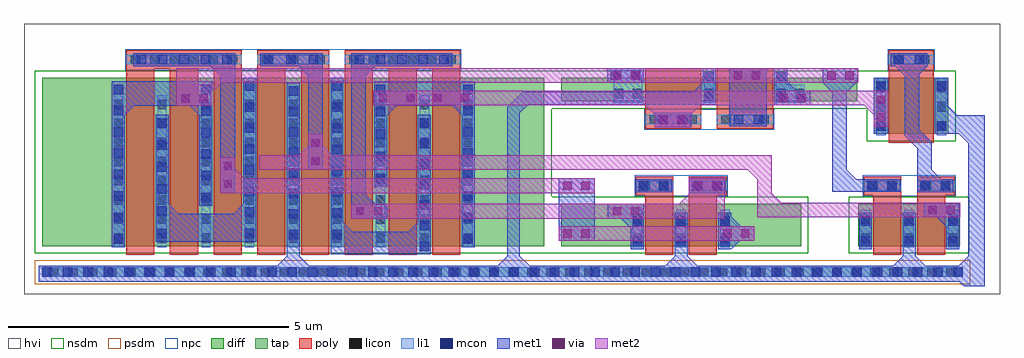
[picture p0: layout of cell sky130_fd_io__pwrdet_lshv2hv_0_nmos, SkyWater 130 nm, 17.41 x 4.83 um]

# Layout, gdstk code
from math import pi, radians
import gdstk
lib = gdstk.Library(unit=1e-6, precision=1e-09)
def R(c, l, rs):  # rectangles x0, y0, x1, y1
    for r in rs: c.add(gdstk.rectangle(r[:2], r[2:], *l))
def A(c, l, x, y, w, h, nx, ny, dx, dy):  # array of equal rectangles
    R(c, l, [(x+i*dx, y+j*dy, x+i*dx+w, y+j*dy+h) for i in range(nx) for j in range(ny)])
def P(c, l, *ps):  # polygons
    for p in ps: c.add(gdstk.Polygon(p, *l))
diff = (65, 20)
tap = (65, 44)
poly = (66, 20)
licon = (66, 44)
li1 = (67, 20)
mcon = (67, 44)
met1 = (68, 20)
via = (68, 44)
met2 = (69, 20)
hvi = (75, 20)
nsdm = (93, 44)
psdm = (94, 20)
npc = (95, 20)

dfl1_cdns_52468879185881 = lib.new_cell('DFL1_CDNS_52468879185881')
R(dfl1_cdns_52468879185881, diff, [(0,0,0.25,0.29)])
R(dfl1_cdns_52468879185881, licon, [(0.04,0.06,0.21,0.23)])
R(dfl1_cdns_52468879185881, li1, [(0.04,-0.02,0.21,0.31)])

dfl1sd_cdns_524688791853 = lib.new_cell('DFL1sd_CDNS_5246887918538')
R(dfl1sd_cdns_524688791853, diff, [(0,0,0.265,1)])
A(dfl1sd_cdns_524688791853, licon, 0.055, 0.06, 0.17, 0.17, 1, 3, 0, 0.34)
R(dfl1sd_cdns_524688791853, li1, [(0.055,-0.02,0.225,0.99)])
R(dfl1sd_cdns_524688791853, nsdm, [(-0.13,-0.13,0.395,1.13)])

nfet_cdns_52468879185783 = lib.new_cell('nfet_CDNS_52468879185783')
R(nfet_cdns_52468879185783, diff, [(-0.25,0,0,1), (0,0,0.8,1), (0.8,0,1.05,1)])
R(nfet_cdns_52468879185783, poly, [(0,-0.16,0.8,0), (0,-0.16,0.8,1.16), (0,1,0.8,1.16)])
R(nfet_cdns_52468879185783, li1, [(-0.225,-0.02,-0.055,0.99), (0.855,-0.02,1.025,0.99)])
R(nfet_cdns_52468879185783, hvi, [(-0.445,-0.18,1.245,1.18)])
R(nfet_cdns_52468879185783, nsdm, [(-0.25,-0.13,1.05,1.13)])
nfet_cdns_52468879185783.add(gdstk.Reference(dfl1sd_cdns_524688791853, (0.8,0)))
nfet_cdns_52468879185783.add(gdstk.Reference(dfl1sd_cdns_524688791853, (0,0), rotation=pi, x_reflection=True))
nfet_cdns_52468879185783.add(gdstk.Label('S', (-0.14,0.485), layer=83, texttype=44))
nfet_cdns_52468879185783.add(gdstk.Label('D', (0.94,0.485), layer=83, texttype=44))

dfl1sd_cdns_524688791852 = lib.new_cell('DFL1sd_CDNS_52468879185245')
R(dfl1sd_cdns_524688791852, diff, [(0,0,0.265,0.75)])
R(dfl1sd_cdns_524688791852, licon, [(0.055,0.06,0.225,0.23), (0.055,0.4,0.225,0.57)])
R(dfl1sd_cdns_524688791852, li1, [(0.055,-0.02,0.225,0.65)])
R(dfl1sd_cdns_524688791852, nsdm, [(-0.13,-0.13,0.395,0.88)])

nfet_cdns_52468879185871 = lib.new_cell('nfet_CDNS_52468879185871')
R(nfet_cdns_52468879185871, diff, [(-0.25,0,0,0.75), (0,0,0.5,0.75), (0.5,0,0.75,0.75)])
R(nfet_cdns_52468879185871, poly, [(0,-0.16,0.5,0), (0,-0.16,0.5,0.91), (0,0.75,0.5,0.91)])
R(nfet_cdns_52468879185871, li1, [(-0.225,-0.02,-0.055,0.65), (0.555,-0.02,0.725,0.65)])
R(nfet_cdns_52468879185871, hvi, [(-0.445,-0.18,0.945,0.93)])
R(nfet_cdns_52468879185871, nsdm, [(-0.25,-0.13,0.75,0.88)])
nfet_cdns_52468879185871.add(gdstk.Reference(dfl1sd_cdns_524688791852, (0.5,0)))
nfet_cdns_52468879185871.add(gdstk.Reference(dfl1sd_cdns_524688791852, (0,0), rotation=pi, x_reflection=True))
nfet_cdns_52468879185871.add(gdstk.Label('S', (-0.14,0.315), layer=83, texttype=44))
nfet_cdns_52468879185871.add(gdstk.Label('D', (0.64,0.315), layer=83, texttype=44))

hvdfl1sd2_cdns_524688791 = lib.new_cell('hvDFL1sd2_CDNS_52468879185120')
R(hvdfl1sd2_cdns_524688791, diff, [(0,0,0.28,3)])
A(hvdfl1sd2_cdns_524688791, licon, 0.055, 0.06, 0.17, 0.17, 1, 8, 0, 0.34)
R(hvdfl1sd2_cdns_524688791, li1, [(0.055,-0.02,0.225,2.69)])
R(hvdfl1sd2_cdns_524688791, nsdm, [(-0.13,-0.13,0.41,3.13)])

nfet_cdns_52468879185882 = lib.new_cell('nfet_CDNS_52468879185882')
A(nfet_cdns_52468879185882, diff, 0, 0, 0.5, 3, 3, 1, 0.78, 0)
R(nfet_cdns_52468879185882, diff, [(-0.25,0,0,3), (2.06,0,2.31,3)])
A(nfet_cdns_52468879185882, poly, 0, -0.16, 0.5, 0.16, 3, 2, 0.78, 3.16)
A(nfet_cdns_52468879185882, poly, 0, -0.16, 0.5, 3.32, 3, 1, 0.78, 0)
A(nfet_cdns_52468879185882, li1, -0.225, -0.02, 0.17, 2.71, 4, 1, 0.78, 0)
R(nfet_cdns_52468879185882, hvi, [(-0.46,-0.18,2.52,3.18)])
R(nfet_cdns_52468879185882, nsdm, [(-0.25,-0.13,0.5,3.13), (0.53,-0.13,1.28,3.13), (1.31,-0.13,2.31,3.13)])
nfet_cdns_52468879185882.add(gdstk.Reference(hvdfl1sd2_cdns_524688791, (0.5,0)))
nfet_cdns_52468879185882.add(gdstk.Reference(hvdfl1sd2_cdns_524688791, (1.28,0)))
nfet_cdns_52468879185882.add(gdstk.Reference(hvdfl1sd2_cdns_524688791, (2.06,0)))
nfet_cdns_52468879185882.add(gdstk.Reference(hvdfl1sd2_cdns_524688791, (0,0), rotation=pi, x_reflection=True))
nfet_cdns_52468879185882.add(gdstk.Label('S', (-0.14,1.335), layer=83, texttype=44))
nfet_cdns_52468879185882.add(gdstk.Label('D', (0.64,1.335), layer=83, texttype=44))
nfet_cdns_52468879185882.add(gdstk.Label('S', (1.42,1.335), layer=83, texttype=44))
nfet_cdns_52468879185882.add(gdstk.Label('D', (2.2,1.335), layer=83, texttype=44))

nfet_cdns_52468879185883 = lib.new_cell('nfet_CDNS_52468879185883')
R(nfet_cdns_52468879185883, diff, [(-0.25,0,0,3), (0,0,0.5,3), (0.5,0,0.75,3)])
R(nfet_cdns_52468879185883, poly, [(0,-0.16,0.5,0), (0,-0.16,0.5,3.16), (0,3,0.5,3.16)])
R(nfet_cdns_52468879185883, li1, [(-0.225,-0.02,-0.055,2.69), (0.555,-0.02,0.725,2.69)])
R(nfet_cdns_52468879185883, hvi, [(-0.46,-0.18,0.96,3.18)])
R(nfet_cdns_52468879185883, nsdm, [(-0.25,-0.13,0.75,3.13)])
nfet_cdns_52468879185883.add(gdstk.Reference(hvdfl1sd2_cdns_524688791, (0.5,0)))
nfet_cdns_52468879185883.add(gdstk.Reference(hvdfl1sd2_cdns_524688791, (0,0), rotation=pi, x_reflection=True))
nfet_cdns_52468879185883.add(gdstk.Label('S', (-0.14,1.335), layer=83, texttype=44))
nfet_cdns_52468879185883.add(gdstk.Label('D', (0.64,1.335), layer=83, texttype=44))

dfl1sd2_cdns_52468879185 = lib.new_cell('DFL1sd2_CDNS_52468879185189')
R(dfl1sd2_cdns_52468879185, diff, [(0,0,0.28,3)])
A(dfl1sd2_cdns_52468879185, licon, 0.055, 0.06, 0.17, 0.17, 1, 8, 0, 0.34)
R(dfl1sd2_cdns_52468879185, li1, [(0.055,-0.02,0.225,2.69)])
R(dfl1sd2_cdns_52468879185, nsdm, [(-0.13,-0.13,0.41,3.13)])

nfet_cdns_52468879185884 = lib.new_cell('nfet_CDNS_52468879185884')
A(nfet_cdns_52468879185884, diff, 0, 0, 0.5, 3, 3, 1, 0.78, 0)
R(nfet_cdns_52468879185884, diff, [(-0.25,0,0,3), (2.06,0,2.31,3)])
A(nfet_cdns_52468879185884, poly, 0, -0.16, 0.5, 0.16, 3, 2, 0.78, 3.16)
A(nfet_cdns_52468879185884, poly, 0, -0.16, 0.5, 3.32, 3, 1, 0.78, 0)
A(nfet_cdns_52468879185884, li1, -0.225, -0.02, 0.17, 2.71, 4, 1, 0.78, 0)
R(nfet_cdns_52468879185884, hvi, [(-0.46,-0.18,2.52,3.18)])
R(nfet_cdns_52468879185884, nsdm, [(-0.25,-0.13,0.5,3.13), (0.53,-0.13,1.28,3.13), (1.31,-0.13,2.31,3.13)])
nfet_cdns_52468879185884.add(gdstk.Reference(dfl1sd2_cdns_52468879185, (0.5,0)))
nfet_cdns_52468879185884.add(gdstk.Reference(dfl1sd2_cdns_52468879185, (1.28,0)))
nfet_cdns_52468879185884.add(gdstk.Reference(dfl1sd2_cdns_52468879185, (2.06,0)))
nfet_cdns_52468879185884.add(gdstk.Reference(dfl1sd2_cdns_52468879185, (0,0), rotation=pi, x_reflection=True))
nfet_cdns_52468879185884.add(gdstk.Label('S', (-0.14,1.335), layer=83, texttype=44))
nfet_cdns_52468879185884.add(gdstk.Label('D', (0.64,1.335), layer=83, texttype=44))
nfet_cdns_52468879185884.add(gdstk.Label('S', (1.42,1.335), layer=83, texttype=44))
nfet_cdns_52468879185884.add(gdstk.Label('D', (2.2,1.335), layer=83, texttype=44))

c_dfl1sd_cdns_524688791852 = lib.new_cell('DFL1sd_CDNS_52468879185271')
R(c_dfl1sd_cdns_524688791852, diff, [(0,0,0.265,0.42)])
R(c_dfl1sd_cdns_524688791852, licon, [(0.055,0.06,0.225,0.23)])
R(c_dfl1sd_cdns_524688791852, li1, [(0.055,-0.02,0.225,0.31)])
R(c_dfl1sd_cdns_524688791852, nsdm, [(-0.13,-0.13,0.395,0.55)])

nfet_cdns_52468879185885 = lib.new_cell('nfet_CDNS_52468879185885')
R(nfet_cdns_52468879185885, diff, [(-0.25,0,0,0.42), (0,0,1,0.42), (1,0,1.25,0.42)])
R(nfet_cdns_52468879185885, poly, [(0,-0.16,1,0), (0,-0.16,1,0.58), (0,0.42,1,0.58)])
R(nfet_cdns_52468879185885, li1, [(-0.225,-0.02,-0.055,0.31), (1.055,-0.02,1.225,0.31)])
R(nfet_cdns_52468879185885, hvi, [(-0.445,-0.18,1.445,0.6)])
R(nfet_cdns_52468879185885, nsdm, [(-0.25,-0.13,1.25,0.55)])
nfet_cdns_52468879185885.add(gdstk.Reference(c_dfl1sd_cdns_524688791852, (1,0)))
nfet_cdns_52468879185885.add(gdstk.Reference(c_dfl1sd_cdns_524688791852, (0,0), rotation=pi, x_reflection=True))
nfet_cdns_52468879185885.add(gdstk.Label('S', (-0.14,0.145), layer=83, texttype=44))
nfet_cdns_52468879185885.add(gdstk.Label('D', (1.14,0.145), layer=83, texttype=44))

sky130_fd_io__pwrdet_lsh = lib.new_cell('sky130_fd_io__pwrdet_lshv2hv_0_nmos')
R(sky130_fd_io__pwrdet_lsh, diff, [(0.325,0.865,1.545,3.865), (8.065,0.865,9.285,3.865), (9.585,0.865,10.82,1.615), (12.63,0.865,13.865,1.615), (9.585,3.445,10.82,3.865), (13.63,3.445,14.865,3.865)])
A(sky130_fd_io__pwrdet_lsh, licon, 0.445, 0.315, 0.17, 0.17, 8, 1, 0.345, 0)
A(sky130_fd_io__pwrdet_lsh, licon, 3.2, 0.315, 0.17, 0.17, 40, 1, 0.34, 0)
A(sky130_fd_io__pwrdet_lsh, licon, 2.255, 4.105, 0.17, 0.17, 5, 1, 0.345, 0)
A(sky130_fd_io__pwrdet_lsh, licon, 4.245, 4.105, 0.17, 0.17, 3, 1, 0.475, 0)
A(sky130_fd_io__pwrdet_lsh, licon, 6.155, 4.105, 0.17, 0.17, 5, 1, 0.345, 0)
R(sky130_fd_io__pwrdet_lsh, licon, [(10.995,1.855,11.165,2.025), (11.335,1.855,11.505,2.025), (11.945,1.855,12.115,2.025), (12.285,1.855,12.455,2.025), (15.065,1.855,15.235,2.025), (15.405,1.855,15.575,2.025), (16.015,1.855,16.185,2.025), (16.355,1.855,16.525,2.025), (11.165,3.035,11.335,3.205), (11.835,3.035,12.005,3.205), (12.445,3.035,12.615,3.205), (13.115,3.035,13.285,3.205), (1.905,4.105,2.075,4.275), (5.805,4.105,5.975,4.275), (15.51,4.105,15.68,4.275), (15.98,4.105,16.15,4.275)])
R(sky130_fd_io__pwrdet_lsh, li1, [(10.52,3.425,11.03,3.935), (13.53,3.425,13.88,3.755), (10.86,3.65,11.03,4.005)])
A(sky130_fd_io__pwrdet_lsh, mcon, 0.325, 0.315, 0.17, 0.17, 12, 1, 0.365, 0)
A(sky130_fd_io__pwrdet_lsh, mcon, 4.7, 0.315, 0.17, 0.17, 34, 1, 0.36, 0)
A(sky130_fd_io__pwrdet_lsh, mcon, 7.06, 0.775, 0.17, 0.17, 1, 3, 0, 0.37)
A(sky130_fd_io__pwrdet_lsh, mcon, 10.86, 0.865, 0.17, 0.17, 3, 2, 0.78, 0.36)
A(sky130_fd_io__pwrdet_lsh, mcon, 14.93, 0.865, 0.17, 0.17, 3, 2, 0.78, 0.36)
A(sky130_fd_io__pwrdet_lsh, mcon, 1.6, 0.905, 0.17, 0.17, 1, 3, 0, 0.385)
A(sky130_fd_io__pwrdet_lsh, mcon, 7.84, 0.905, 0.17, 0.17, 1, 3, 0, 0.385)
A(sky130_fd_io__pwrdet_lsh, mcon, 5.5, 0.985, 0.17, 0.17, 1, 6, 0, 0.38)
A(sky130_fd_io__pwrdet_lsh, mcon, 2.38, 1.005, 0.17, 0.17, 1, 5, 0, 0.395)
A(sky130_fd_io__pwrdet_lsh, mcon, 4.72, 1.355, 0.17, 0.17, 1, 4, 0, 0.365)
A(sky130_fd_io__pwrdet_lsh, mcon, 3.94, 1.385, 0.17, 0.17, 1, 7, 0, 0.375)
A(sky130_fd_io__pwrdet_lsh, mcon, 7.06, 1.88, 0.17, 0.17, 1, 4, 0, 0.365)
A(sky130_fd_io__pwrdet_lsh, mcon, 6.28, 1.98, 0.17, 0.17, 1, 4, 0, 0.4)
A(sky130_fd_io__pwrdet_lsh, mcon, 3.16, 2.035, 0.17, 0.17, 1, 5, 0, 0.385)
A(sky130_fd_io__pwrdet_lsh, mcon, 1.6, 2.815, 0.17, 0.17, 3, 1, 3.12, 0)
A(sky130_fd_io__pwrdet_lsh, mcon, 2.01, 4.105, 0.17, 0.17, 4, 1, 0.38, 0)
A(sky130_fd_io__pwrdet_lsh, mcon, 5.9, 4.105, 0.17, 0.17, 3, 1, 0.38, 0)
R(sky130_fd_io__pwrdet_lsh, mcon, [(4.72,0.985,4.89,1.155), (3.94,1.005,4.11,1.175), (3.16,1.645,3.33,1.815), (10.965,1.855,11.135,2.025), (11.325,1.855,11.495,2.025), (11.925,1.855,12.095,2.025), (12.285,1.855,12.455,2.025), (15.995,1.855,16.165,2.025), (16.355,1.855,16.525,2.025), (15.045,1.86,15.215,2.03), (15.405,1.86,15.575,2.03), (1.6,2.055,1.77,2.225), (7.84,2.055,8.01,2.225), (1.6,2.435,1.77,2.605), (7.84,2.435,8.01,2.605), (15.205,2.925,15.375,3.095), (16.285,2.925,16.455,3.095), (2.38,2.975,2.55,3.145), (11.315,3.035,11.485,3.205), (11.675,3.035,11.845,3.205), (12.66,3.035,12.83,3.205), (13.02,3.035,13.19,3.205), (4.72,3.18,4.89,3.35), (1.6,3.195,1.77,3.365), (7.84,3.195,8.01,3.365), (5.5,3.26,5.67,3.43), (12.14,3.445,12.31,3.615), (13.42,3.445,13.59,3.615), (4.72,3.545,4.89,3.715), (1.6,3.575,1.77,3.745), (6.28,3.575,6.45,3.745), (7.84,3.575,8.01,3.745), (5.5,3.635,5.67,3.805), (15.205,3.635,15.375,3.805), (16.285,3.635,16.455,3.805), (12.14,3.805,12.31,3.975), (13.42,3.805,13.59,3.975), (10.47,3.835,10.64,4.005), (10.83,3.835,11,4.005), (3.535,4.105,3.705,4.275), (4.275,4.105,4.445,4.275), (4.68,4.105,4.85,4.275), (5.08,4.105,5.25,4.275), (7.035,4.105,7.205,4.275), (7.41,4.105,7.58,4.275), (15.53,4.105,15.7,4.275), (15.89,4.105,16.06,4.275)])
R(sky130_fd_io__pwrdet_lsh, met1, [(16.77,0.145,17.145,0.515), (0.265,0.225,16.81,0.515), (16.845,0.225,17.145,1.075), (4.69,0.36,4.92,1.075), (15.68,0.385,15.91,0.82), (11.61,0.46,11.84,0.84), (8.62,0.515,8.85,3.035), (5.47,0.715,7.195,1.12), (2.415,0.945,4.14,1.445), (9.54,1.035,10.18,1.85), (5.84,1.43,6.1,4.305), (3.505,1.81,3.765,4.305), (12.125,1.81,12.515,2.07), (15.935,1.825,16.195,2.415), (5.07,2.225,5.33,4.305), (15.16,2.865,15.42,3.865), (11.255,2.985,11.905,3.245), (12.58,3.005,13.25,4.035), (12.58,3.17,13.22,4.01), (1.59,3.365,3.36,3.805), (6.25,3.365,8.02,3.805), (10.41,3.775,11.06,3.815)])
P(sky130_fd_io__pwrdet_lsh, met1, [(16.195,2.415),(16.195,2.72),(15.975,2.94),(15.975,4.305),(15.715,4.305),(15.715,2.83),(15.935,2.61),(15.935,2.415)],
  [(17.145,1.075),(17.145,3.195),(16.255,3.195),(16.255,2.865),(16.845,2.865),(16.845,1.075)],
  [(8.85,2.96),(8.85,3.24),(8.995,3.385),(12.34,3.385),(12.34,3.615),(8.895,3.615),(8.62,3.34),(8.62,2.96)],
  [(1.8,3.365),(1.8,3.195),(1.97,3.365)],
  [(2.96,3.365),(3.13,3.195),(3.13,3.365)],
  [(2.75,1.445),(2.58,1.615),(2.58,1.445)],
  [(3.335,4.075),(3.505,3.905),(3.505,4.075)],
  [(3.91,1.445),(3.91,1.615),(3.74,1.445)],
  [(5.09,0.515),(4.92,0.685),(4.92,0.515)],
  [(4.69,0.515),(4.69,0.685),(4.52,0.515)],
  [(4.9,4.075),(5.07,3.905),(5.07,4.075)],
  [(5.87,1.12),(5.7,1.29),(5.7,1.12)],
  [(6.27,1.615),(6.1,1.785),(6.1,1.615)],
  [(6.1,4.075),(6.1,3.905),(6.27,4.075)],
  [(6.48,3.365),(6.48,3.195),(6.65,3.365)],
  [(8.62,0.515),(8.62,0.685),(8.45,0.515)],
  [(7.64,3.365),(7.81,3.195),(7.81,3.365)],
  [(9.02,0.515),(8.85,0.685),(8.85,0.515)],
  [(10.66,1.355),(10.83,1.185),(10.83,1.355)],
  [(12.11,3.615),(12.11,3.785),(11.94,3.615)],
  [(13.79,3.635),(13.62,3.805),(13.62,3.635)],
  [(14.25,3.775),(14.42,3.605),(14.42,3.775)],
  [(14.68,3.775),(14.68,3.605),(14.85,3.775)],
  [(15.545,4.075),(15.715,3.905),(15.715,4.075)],
  [(15.975,4.075),(15.975,3.93),(16.12,4.075)],
  [(16.365,2.055),(16.195,2.225),(16.195,2.055)],
  [(14.85,2.06),(14.68,2.23),(14.68,2.06)],
  [(15.68,0.515),(15.68,0.685),(15.51,0.515)],
  [(16.08,0.515),(15.91,0.685),(15.91,0.515)],
  [(16.69,0.225),(16.77,0.145),(16.77,0.225)],
  [(16.845,0.515),(16.845,0.685),(16.675,0.515)],
  [(16.29,1.375),(16.46,1.205),(16.46,1.375)],
  [(12.62,0.955),(12.62,0.805),(12.77,0.955)],
  [(12.79,1.215),(12.62,1.385),(12.62,1.215)],
  [(12.01,0.515),(11.84,0.685),(11.84,0.515)],
  [(11.61,0.515),(11.61,0.685),(11.44,0.515)],
  [(15.045,2.06),(14.68,2.06),(14.68,3.975),(14.42,3.975),(14.42,1.83),(15.045,1.83)],
  [(16.675,2.865),(16.845,2.695),(16.845,2.865)],
  [(7.03,1.12),(7.03,1.29),(6.86,1.12)],
  [(16.655,3.195),(16.485,3.365),(16.485,3.195)])
A(sky130_fd_io__pwrdet_lsh, via, 6.335, 3.43, 0.15, 0.15, 3, 1, 0.485, 0)
R(sky130_fd_io__pwrdet_lsh, via, [(9.625,1.01,9.775,1.16), (9.945,1.01,10.095,1.16), (12.475,1.01,12.625,1.16), (12.795,1.01,12.945,1.16), (5.925,1.41,6.075,1.56), (6.245,1.41,6.395,1.56), (10.505,1.41,10.655,1.56), (10.825,1.41,10.975,1.56), (16.135,1.43,16.285,1.58), (16.455,1.43,16.605,1.58), (9.625,1.865,9.775,2.015), (9.945,1.865,10.095,2.015), (11.95,1.865,12.1,2.015), (12.27,1.865,12.42,2.015), (3.56,1.895,3.71,2.045), (3.56,2.215,3.71,2.365), (5.125,2.31,5.275,2.46), (5.125,2.63,5.275,2.78), (11.34,3.04,11.49,3.19), (11.66,3.04,11.81,3.19), (15.215,3.08,15.365,3.23), (15.215,3.4,15.365,3.55), (2.805,3.42,2.955,3.57), (3.125,3.42,3.275,3.57), (7.785,3.43,7.935,3.58), (13.475,3.43,13.625,3.58), (13.795,3.43,13.945,3.58), (10.505,3.83,10.655,3.98), (10.825,3.83,10.975,3.98), (12.665,3.83,12.815,3.98), (12.985,3.83,13.135,3.98), (14.335,3.83,14.485,3.98), (14.655,3.83,14.805,3.98)])
R(sky130_fd_io__pwrdet_lsh, met2, [(9.545,0.955,12.62,1.215), (5.84,1.355,12.275,1.615), (11.865,1.355,12.505,1.845), (12.005,1.355,12.305,1.885), (3.595,1.81,10.155,2.07), (11.255,3.19,11.895,3.4), (6.23,3.375,15.405,3.635), (2.72,3.58,3.36,3.8), (2.72,3.775,14.89,4.035)])
P(sky130_fd_io__pwrdet_lsh, met2, [(3.36,3.775),(3.36,3.605),(3.53,3.775)],
  [(5.5,2.485),(5.33,2.655),(5.33,2.485)],
  [(3.935,2.07),(3.765,2.24),(3.765,2.07)],
  [(5.07,2.485),(5.07,2.655),(4.9,2.485)],
  [(11.085,3.375),(11.255,3.205),(11.255,3.375)],
  [(11.895,3.375),(11.895,3.205),(12.065,3.375)],
  [(11.865,1.615),(11.865,1.785),(11.695,1.615)],
  [(12.91,2.225),(13.08,2.055),(13.08,2.225)],
  [(13.51,1.635),(13.34,1.805),(13.34,1.635)],
  [(16.705,1.635),(13.34,1.635),(13.34,2.485),(4.195,2.485),(4.195,2.225),(13.08,2.225),(13.08,1.375),(16.705,1.375)],
  [(14.99,3.375),(15.16,3.205),(15.16,3.375)])
R(sky130_fd_io__pwrdet_lsh, hvi, [(0,0,17.415,4.835)])
R(sky130_fd_io__pwrdet_lsh, nsdm, [(0.195,0.735,1.415,3.995), (8.195,0.735,9.415,3.995), (9.415,0.735,9.455,1.745), (9.455,0.735,10.69,1.745), (12.76,0.735,13.995,1.745), (14.72,0.735,14.76,1.745), (16.83,0.735,16.87,1.745), (9.415,3.315,9.455,3.995), (9.455,3.315,10.69,3.995), (13.76,3.315,14.995,3.995), (14.995,3.315,15.035,3.995)])
R(sky130_fd_io__pwrdet_lsh, npc, [(11.605,1.755,11.845,2.125), (15.675,1.755,15.915,2.125), (12.105,2.935,12.345,3.305), (3.905,4.005,5.755,4.375)])
sky130_fd_io__pwrdet_lsh.add(gdstk.FlexPath([(15.43,4.19),(16.23,4.19)], 0.33, ends="flush", simple_path=True, layer=66, datatype=20))  # poly
sky130_fd_io__pwrdet_lsh.add(gdstk.FlexPath([(15.935,1.94),(16.605,1.94)], 0.33, ends="flush", simple_path=True, layer=66, datatype=20))  # poly
sky130_fd_io__pwrdet_lsh.add(gdstk.FlexPath([(14.985,1.94),(15.655,1.94)], 0.33, ends="flush", simple_path=True, layer=66, datatype=20))  # poly
sky130_fd_io__pwrdet_lsh.add(gdstk.FlexPath([(1.825,4.19),(3.885,4.19)], 0.33, ends="flush", simple_path=True, layer=66, datatype=20))  # poly
sky130_fd_io__pwrdet_lsh.add(gdstk.FlexPath([(11.865,1.94),(12.535,1.94)], 0.33, ends="flush", simple_path=True, layer=66, datatype=20))  # poly
sky130_fd_io__pwrdet_lsh.add(gdstk.FlexPath([(10.915,1.94),(11.585,1.94)], 0.33, ends="flush", simple_path=True, layer=66, datatype=20))  # poly
sky130_fd_io__pwrdet_lsh.add(gdstk.FlexPath([(12.365,3.12),(13.365,3.12)], 0.33, ends="flush", simple_path=True, layer=66, datatype=20))  # poly
sky130_fd_io__pwrdet_lsh.add(gdstk.FlexPath([(11.085,3.12),(12.085,3.12)], 0.33, ends="flush", simple_path=True, layer=66, datatype=20))  # poly
sky130_fd_io__pwrdet_lsh.add(gdstk.FlexPath([(5.725,4.19),(7.785,4.19)], 0.33, ends="flush", simple_path=True, layer=66, datatype=20))  # poly
sky130_fd_io__pwrdet_lsh.add(gdstk.FlexPath([(4.165,4.19),(5.445,4.19)], 0.33, ends="flush", simple_path=True, layer=66, datatype=20))  # poly
sky130_fd_io__pwrdet_lsh.add(gdstk.FlexPath([(16.37,2.925),(16.37,3.805)], 0.17, ends="flush", simple_path=True, layer=67, datatype=20))  # li1
sky130_fd_io__pwrdet_lsh.add(gdstk.FlexPath([(3.705,4.19),(2.01,4.19)], 0.17, ends="flush", simple_path=True, layer=67, datatype=20))  # li1
sky130_fd_io__pwrdet_lsh.add(gdstk.FlexPath([(10.965,1.94),(11.495,1.94)], 0.17, ends="flush", simple_path=True, layer=67, datatype=20))  # li1
sky130_fd_io__pwrdet_lsh.add(gdstk.FlexPath([(11.925,1.94),(12.455,1.94)], 0.17, ends="flush", simple_path=True, layer=67, datatype=20))  # li1
sky130_fd_io__pwrdet_lsh.add(gdstk.FlexPath([(5.9,4.19),(7.58,4.19)], 0.17, ends="flush", simple_path=True, layer=67, datatype=20))  # li1
sky130_fd_io__pwrdet_lsh.add(gdstk.FlexPath([(15.995,1.94),(16.525,1.94)], 0.17, ends="flush", simple_path=True, layer=67, datatype=20))  # li1
sky130_fd_io__pwrdet_lsh.add(gdstk.FlexPath([(4.275,4.19),(5.25,4.19)], 0.17, ends="flush", simple_path=True, layer=67, datatype=20))  # li1
sky130_fd_io__pwrdet_lsh.add(gdstk.FlexPath([(10.945,0.865),(10.945,1.395)], 0.17, ends="flush", simple_path=True, layer=67, datatype=20))  # li1
sky130_fd_io__pwrdet_lsh.add(gdstk.FlexPath([(11.725,0.865),(11.725,1.395)], 0.17, ends="flush", simple_path=True, layer=67, datatype=20))  # li1
sky130_fd_io__pwrdet_lsh.add(gdstk.FlexPath([(12.505,0.865),(12.505,1.395)], 0.17, ends="flush", simple_path=True, layer=67, datatype=20))  # li1
sky130_fd_io__pwrdet_lsh.add(gdstk.FlexPath([(16.575,0.865),(16.575,1.395)], 0.17, ends="flush", simple_path=True, layer=67, datatype=20))  # li1
sky130_fd_io__pwrdet_lsh.add(gdstk.FlexPath([(15.015,0.865),(15.015,1.395)], 0.17, ends="flush", simple_path=True, layer=67, datatype=20))  # li1
sky130_fd_io__pwrdet_lsh.add(gdstk.FlexPath([(15.795,0.865),(15.795,1.395)], 0.17, ends="flush", simple_path=True, layer=67, datatype=20))  # li1
sky130_fd_io__pwrdet_lsh.add(gdstk.FlexPath([(15.045,1.945),(15.575,1.945)], 0.17, ends="flush", simple_path=True, layer=67, datatype=20))  # li1
sky130_fd_io__pwrdet_lsh.add(gdstk.FlexPath([(12.66,3.12),(13.19,3.12)], 0.17, ends="flush", simple_path=True, layer=67, datatype=20))  # li1
sky130_fd_io__pwrdet_lsh.add(gdstk.FlexPath([(11.315,3.12),(11.845,3.12)], 0.17, ends="flush", simple_path=True, layer=67, datatype=20))  # li1
sky130_fd_io__pwrdet_lsh.add(gdstk.FlexPath([(12.225,3.445),(12.225,3.975)], 0.17, ends="flush", simple_path=True, layer=67, datatype=20))  # li1
sky130_fd_io__pwrdet_lsh.add(gdstk.FlexPath([(13.505,3.445),(13.505,3.975)], 0.17, ends="flush", simple_path=True, layer=67, datatype=20))  # li1
sky130_fd_io__pwrdet_lsh.add(gdstk.FlexPath([(11,3.92),(10.47,3.92)], 0.17, ends="flush", simple_path=True, layer=67, datatype=20))  # li1
sky130_fd_io__pwrdet_lsh.add(gdstk.FlexPath([(4.805,0.985),(4.805,3.715)], 0.17, ends="flush", simple_path=True, layer=67, datatype=20))  # li1
sky130_fd_io__pwrdet_lsh.add(gdstk.FlexPath([(7.925,0.905),(7.925,3.745)], 0.17, ends="flush", simple_path=True, layer=67, datatype=20))  # li1
sky130_fd_io__pwrdet_lsh.add(gdstk.FlexPath([(6.365,1.98),(6.365,3.745)], 0.17, ends="flush", simple_path=True, layer=67, datatype=20))  # li1
sky130_fd_io__pwrdet_lsh.add(gdstk.FlexPath([(7.145,0.775),(7.145,3.145)], 0.17, ends="flush", simple_path=True, layer=67, datatype=20))  # li1
sky130_fd_io__pwrdet_lsh.add(gdstk.FlexPath([(1.685,0.905),(1.685,3.745)], 0.17, ends="flush", simple_path=True, layer=67, datatype=20))  # li1
sky130_fd_io__pwrdet_lsh.add(gdstk.FlexPath([(3.245,1.645),(3.245,3.745)], 0.17, ends="flush", simple_path=True, layer=67, datatype=20))  # li1
sky130_fd_io__pwrdet_lsh.add(gdstk.FlexPath([(5.585,0.985),(5.585,3.805)], 0.17, ends="flush", simple_path=True, layer=67, datatype=20))  # li1
sky130_fd_io__pwrdet_lsh.add(gdstk.FlexPath([(15.53,4.19),(16.06,4.19)], 0.17, ends="flush", simple_path=True, layer=67, datatype=20))  # li1
sky130_fd_io__pwrdet_lsh.add(gdstk.FlexPath([(2.465,1.005),(2.465,3.145)], 0.17, ends="flush", simple_path=True, layer=67, datatype=20))  # li1
sky130_fd_io__pwrdet_lsh.add(gdstk.FlexPath([(4.025,1.005),(4.025,3.805)], 0.17, ends="flush", simple_path=True, layer=67, datatype=20))  # li1
sky130_fd_io__pwrdet_lsh.add(gdstk.FlexPath([(15.43,4.19),(16.23,4.19)], 0.17, ends="flush", simple_path=True, layer=67, datatype=20))  # li1
sky130_fd_io__pwrdet_lsh.add(gdstk.FlexPath([(15.29,2.925),(15.29,3.805)], 0.17, ends="flush", simple_path=True, layer=67, datatype=20))  # li1
sky130_fd_io__pwrdet_lsh.add(gdstk.FlexPath([(0.325,0.4),(16.75,0.4)], 0.17, ends="flush", simple_path=True, layer=67, datatype=20))  # li1
sky130_fd_io__pwrdet_lsh.add(gdstk.FlexPath([(15.935,1.94),(16.605,1.94)], 0.17, ends="flush", simple_path=True, layer=67, datatype=20))  # li1
sky130_fd_io__pwrdet_lsh.add(gdstk.FlexPath([(14.985,1.94),(15.655,1.94)], 0.17, ends="flush", simple_path=True, layer=67, datatype=20))  # li1
sky130_fd_io__pwrdet_lsh.add(gdstk.FlexPath([(0.325,0.4),(16.75,0.4)], 0.17, ends="flush", simple_path=True, layer=67, datatype=20))  # li1
sky130_fd_io__pwrdet_lsh.add(gdstk.FlexPath([(11.865,1.94),(12.535,1.94)], 0.17, ends="flush", simple_path=True, layer=67, datatype=20))  # li1
sky130_fd_io__pwrdet_lsh.add(gdstk.FlexPath([(10.915,1.94),(11.585,1.94)], 0.17, ends="flush", simple_path=True, layer=67, datatype=20))  # li1
sky130_fd_io__pwrdet_lsh.add(gdstk.FlexPath([(12.365,3.12),(13.365,3.12)], 0.17, ends="flush", simple_path=True, layer=67, datatype=20))  # li1
sky130_fd_io__pwrdet_lsh.add(gdstk.FlexPath([(11.085,3.12),(12.085,3.12)], 0.17, ends="flush", simple_path=True, layer=67, datatype=20))  # li1
sky130_fd_io__pwrdet_lsh.add(gdstk.FlexPath([(5.725,4.19),(7.785,4.19)], 0.17, ends="flush", simple_path=True, layer=67, datatype=20))  # li1
sky130_fd_io__pwrdet_lsh.add(gdstk.FlexPath([(4.165,4.19),(5.445,4.19)], 0.17, ends="flush", simple_path=True, layer=67, datatype=20))  # li1
sky130_fd_io__pwrdet_lsh.add(gdstk.FlexPath([(1.825,4.19),(3.885,4.19)], 0.17, ends="flush", simple_path=True, layer=67, datatype=20))  # li1
sky130_fd_io__pwrdet_lsh.add(gdstk.FlexPath([(15.41,4.19),(16.25,4.19)], 0.37, ends="flush", simple_path=True, layer=95, datatype=20))  # npc
sky130_fd_io__pwrdet_lsh.add(gdstk.FlexPath([(15.915,1.94),(16.625,1.94)], 0.37, ends="flush", simple_path=True, layer=95, datatype=20))  # npc
sky130_fd_io__pwrdet_lsh.add(gdstk.FlexPath([(14.965,1.94),(15.675,1.94)], 0.37, ends="flush", simple_path=True, layer=95, datatype=20))  # npc
sky130_fd_io__pwrdet_lsh.add(gdstk.FlexPath([(1.805,4.19),(3.905,4.19)], 0.37, ends="flush", simple_path=True, layer=95, datatype=20))  # npc
sky130_fd_io__pwrdet_lsh.add(gdstk.FlexPath([(11.845,1.94),(12.555,1.94)], 0.37, ends="flush", simple_path=True, layer=95, datatype=20))  # npc
sky130_fd_io__pwrdet_lsh.add(gdstk.FlexPath([(10.895,1.94),(11.605,1.94)], 0.37, ends="flush", simple_path=True, layer=95, datatype=20))  # npc
sky130_fd_io__pwrdet_lsh.add(gdstk.FlexPath([(12.345,3.12),(13.385,3.12)], 0.37, ends="flush", simple_path=True, layer=95, datatype=20))  # npc
sky130_fd_io__pwrdet_lsh.add(gdstk.FlexPath([(11.065,3.12),(12.105,3.12)], 0.37, ends="flush", simple_path=True, layer=95, datatype=20))  # npc
sky130_fd_io__pwrdet_lsh.add(gdstk.FlexPath([(5.705,4.19),(7.805,4.19)], 0.37, ends="flush", simple_path=True, layer=95, datatype=20))  # npc
sky130_fd_io__pwrdet_lsh.add(gdstk.FlexPath([(4.145,4.19),(5.465,4.19)], 0.37, ends="flush", simple_path=True, layer=95, datatype=20))  # npc
sky130_fd_io__pwrdet_lsh.add(gdstk.FlexPath([(0.195,0.4),(16.88,0.4)], 0.43, ends="flush", simple_path=True, layer=94, datatype=20))  # psdm
sky130_fd_io__pwrdet_lsh.add(gdstk.FlexPath([(15.47,4.19),(16.12,4.19)], 0.23, ends="flush", simple_path=True, layer=68, datatype=20))  # met1
sky130_fd_io__pwrdet_lsh.add(gdstk.FlexPath([(16.37,2.865),(16.37,3.865)], 0.23, ends="flush", simple_path=True, layer=68, datatype=20))  # met1
sky130_fd_io__pwrdet_lsh.add(gdstk.FlexPath([(12.39,1.085),(13.03,1.085)], 0.26, ends="flush", simple_path=True, layer=68, datatype=20))  # met1
sky130_fd_io__pwrdet_lsh.add(gdstk.FlexPath([(3.635,1.81),(3.635,2.45)], 0.26, ends="flush", simple_path=True, layer=68, datatype=20))  # met1
sky130_fd_io__pwrdet_lsh.add(gdstk.FlexPath([(3.765,4.19),(1.95,4.19)], 0.23, ends="flush", simple_path=True, layer=68, datatype=20))  # met1
sky130_fd_io__pwrdet_lsh.add(gdstk.FlexPath([(9.54,1.94),(10.18,1.94)], 0.26, ends="flush", simple_path=True, layer=68, datatype=20))  # met1
sky130_fd_io__pwrdet_lsh.add(gdstk.FlexPath([(9.54,1.085),(10.18,1.085)], 0.26, ends="flush", simple_path=True, layer=68, datatype=20))  # met1
sky130_fd_io__pwrdet_lsh.add(gdstk.FlexPath([(10.905,1.94),(11.555,1.94)], 0.23, ends="flush", simple_path=True, layer=68, datatype=20))  # met1
sky130_fd_io__pwrdet_lsh.add(gdstk.FlexPath([(11.865,1.94),(12.515,1.94)], 0.23, ends="flush", simple_path=True, layer=68, datatype=20))  # met1
sky130_fd_io__pwrdet_lsh.add(gdstk.FlexPath([(11.865,1.94),(12.505,1.94)], 0.26, ends="flush", simple_path=True, layer=68, datatype=20))  # met1
sky130_fd_io__pwrdet_lsh.add(gdstk.FlexPath([(6.48,1.485),(5.84,1.485)], 0.26, ends="flush", simple_path=True, layer=68, datatype=20))  # met1
sky130_fd_io__pwrdet_lsh.add(gdstk.FlexPath([(10.42,1.485),(11.06,1.485)], 0.26, ends="flush", simple_path=True, layer=68, datatype=20))  # met1
sky130_fd_io__pwrdet_lsh.add(gdstk.FlexPath([(5.84,4.19),(7.64,4.19)], 0.23, ends="flush", simple_path=True, layer=68, datatype=20))  # met1
sky130_fd_io__pwrdet_lsh.add(gdstk.FlexPath([(5.2,2.225),(5.2,2.865)], 0.26, ends="flush", simple_path=True, layer=68, datatype=20))  # met1
sky130_fd_io__pwrdet_lsh.add(gdstk.FlexPath([(16.69,1.505),(16.05,1.505)], 0.26, ends="flush", simple_path=True, layer=68, datatype=20))  # met1
sky130_fd_io__pwrdet_lsh.add(gdstk.FlexPath([(15.935,1.94),(16.585,1.94)], 0.23, ends="flush", simple_path=True, layer=68, datatype=20))  # met1
sky130_fd_io__pwrdet_lsh.add(gdstk.FlexPath([(4.215,4.19),(5.31,4.19)], 0.23, ends="flush", simple_path=True, layer=68, datatype=20))  # met1
sky130_fd_io__pwrdet_lsh.add(gdstk.FlexPath([(10.945,0.805),(10.945,1.455)], 0.23, ends="flush", simple_path=True, layer=68, datatype=20))  # met1
sky130_fd_io__pwrdet_lsh.add(gdstk.FlexPath([(11.725,0.805),(11.725,1.455)], 0.23, ends="flush", simple_path=True, layer=68, datatype=20))  # met1
sky130_fd_io__pwrdet_lsh.add(gdstk.FlexPath([(12.505,0.805),(12.505,1.455)], 0.23, ends="flush", simple_path=True, layer=68, datatype=20))  # met1
sky130_fd_io__pwrdet_lsh.add(gdstk.FlexPath([(16.575,0.805),(16.575,1.455)], 0.23, ends="flush", simple_path=True, layer=68, datatype=20))  # met1
sky130_fd_io__pwrdet_lsh.add(gdstk.FlexPath([(15.015,0.805),(15.015,1.455)], 0.23, ends="flush", simple_path=True, layer=68, datatype=20))  # met1
sky130_fd_io__pwrdet_lsh.add(gdstk.FlexPath([(15.795,0.805),(15.795,1.455)], 0.23, ends="flush", simple_path=True, layer=68, datatype=20))  # met1
sky130_fd_io__pwrdet_lsh.add(gdstk.FlexPath([(14.25,3.905),(14.89,3.905)], 0.26, ends="flush", simple_path=True, layer=68, datatype=20))  # met1
sky130_fd_io__pwrdet_lsh.add(gdstk.FlexPath([(14.985,1.945),(15.635,1.945)], 0.23, ends="flush", simple_path=True, layer=68, datatype=20))  # met1
sky130_fd_io__pwrdet_lsh.add(gdstk.FlexPath([(12.58,3.905),(13.22,3.905)], 0.26, ends="flush", simple_path=True, layer=68, datatype=20))  # met1
sky130_fd_io__pwrdet_lsh.add(gdstk.FlexPath([(15.29,2.995),(15.29,3.635)], 0.26, ends="flush", simple_path=True, layer=68, datatype=20))  # met1
sky130_fd_io__pwrdet_lsh.add(gdstk.FlexPath([(15.29,2.865),(15.29,3.865)], 0.23, ends="flush", simple_path=True, layer=68, datatype=20))  # met1
sky130_fd_io__pwrdet_lsh.add(gdstk.FlexPath([(12.6,3.12),(13.25,3.12)], 0.23, ends="flush", simple_path=True, layer=68, datatype=20))  # met1
sky130_fd_io__pwrdet_lsh.add(gdstk.FlexPath([(11.255,3.115),(11.895,3.115)], 0.26, ends="flush", simple_path=True, layer=68, datatype=20))  # met1
sky130_fd_io__pwrdet_lsh.add(gdstk.FlexPath([(11.255,3.12),(11.905,3.12)], 0.23, ends="flush", simple_path=True, layer=68, datatype=20))  # met1
sky130_fd_io__pwrdet_lsh.add(gdstk.FlexPath([(6.25,3.505),(8.02,3.505)], 0.26, ends="flush", simple_path=True, layer=68, datatype=20))  # met1
sky130_fd_io__pwrdet_lsh.add(gdstk.FlexPath([(1.685,0.845),(1.685,3.805)], 0.23, ends="flush", simple_path=True, layer=68, datatype=20))  # met1
sky130_fd_io__pwrdet_lsh.add(gdstk.FlexPath([(2.72,3.495),(3.36,3.495)], 0.26, ends="flush", simple_path=True, layer=68, datatype=20))  # met1
sky130_fd_io__pwrdet_lsh.add(gdstk.FlexPath([(13.39,3.505),(14.03,3.505)], 0.26, ends="flush", simple_path=True, layer=68, datatype=20))  # met1
sky130_fd_io__pwrdet_lsh.add(gdstk.FlexPath([(10.42,3.905),(11.06,3.905)], 0.26, ends="flush", simple_path=True, layer=68, datatype=20))  # met1
sky130_fd_io__pwrdet_lsh.add(gdstk.FlexPath([(12.225,3.385),(12.225,4.035)], 0.23, ends="flush", simple_path=True, layer=68, datatype=20))  # met1
sky130_fd_io__pwrdet_lsh.add(gdstk.FlexPath([(13.505,3.385),(13.505,4.035)], 0.23, ends="flush", simple_path=True, layer=68, datatype=20))  # met1
sky130_fd_io__pwrdet_lsh.add(gdstk.FlexPath([(11.06,3.92),(10.41,3.92)], 0.23, ends="flush", simple_path=True, layer=68, datatype=20))  # met1
sky130_fd_io__pwrdet_lsh.add(gdstk.FlexPath([(4.805,0.925),(4.805,3.775)], 0.23, ends="flush", simple_path=True, layer=68, datatype=20))  # met1
sky130_fd_io__pwrdet_lsh.add(gdstk.FlexPath([(6.365,1.92),(6.365,3.805)], 0.23, ends="flush", simple_path=True, layer=68, datatype=20))  # met1
sky130_fd_io__pwrdet_lsh.add(gdstk.FlexPath([(7.145,0.715),(7.145,3.205)], 0.23, ends="flush", simple_path=True, layer=68, datatype=20))  # met1
sky130_fd_io__pwrdet_lsh.add(gdstk.FlexPath([(5.585,0.925),(5.585,3.865)], 0.23, ends="flush", simple_path=True, layer=68, datatype=20))  # met1
sky130_fd_io__pwrdet_lsh.add(gdstk.FlexPath([(7.925,0.845),(7.925,3.805)], 0.23, ends="flush", simple_path=True, layer=68, datatype=20))  # met1
sky130_fd_io__pwrdet_lsh.add(gdstk.FlexPath([(3.245,1.585),(3.245,3.805)], 0.23, ends="flush", simple_path=True, layer=68, datatype=20))  # met1
sky130_fd_io__pwrdet_lsh.add(gdstk.FlexPath([(2.465,0.945),(2.465,3.205)], 0.23, ends="flush", simple_path=True, layer=68, datatype=20))  # met1
sky130_fd_io__pwrdet_lsh.add(gdstk.FlexPath([(4.025,0.945),(4.025,3.865)], 0.23, ends="flush", simple_path=True, layer=68, datatype=20))  # met1
sky130_fd_io__pwrdet_lsh.add(gdstk.FlexPath([(0.265,0.4),(16.81,0.4)], 0.23, ends="flush", simple_path=True, layer=68, datatype=20))  # met1
sky130_fd_io__pwrdet_lsh.add(gdstk.FlexPath([(0.325,0.4),(16.75,0.4)], 0.17, ends="flush", simple_path=True, layer=65, datatype=44))  # tap
sky130_fd_io__pwrdet_lsh.add(gdstk.FlexPath([(16.69,1.505),(16.05,1.505)], 0.26, ends="flush", simple_path=True, layer=69, datatype=20))  # met2
sky130_fd_io__pwrdet_lsh.add(gdstk.FlexPath([(12.39,1.085),(13.03,1.085)], 0.26, ends="flush", simple_path=True, layer=69, datatype=20))  # met2
sky130_fd_io__pwrdet_lsh.add(gdstk.FlexPath([(9.54,1.94),(10.18,1.94)], 0.26, ends="flush", simple_path=True, layer=69, datatype=20))  # met2
sky130_fd_io__pwrdet_lsh.add(gdstk.FlexPath([(3.635,1.81),(3.635,2.45)], 0.26, ends="flush", simple_path=True, layer=69, datatype=20))  # met2
sky130_fd_io__pwrdet_lsh.add(gdstk.FlexPath([(9.54,1.085),(10.18,1.085)], 0.26, ends="flush", simple_path=True, layer=69, datatype=20))  # met2
sky130_fd_io__pwrdet_lsh.add(gdstk.FlexPath([(11.865,1.94),(12.505,1.94)], 0.26, ends="flush", simple_path=True, layer=69, datatype=20))  # met2
sky130_fd_io__pwrdet_lsh.add(gdstk.FlexPath([(6.48,1.485),(5.84,1.485)], 0.26, ends="flush", simple_path=True, layer=69, datatype=20))  # met2
sky130_fd_io__pwrdet_lsh.add(gdstk.FlexPath([(10.42,1.485),(11.06,1.485)], 0.26, ends="flush", simple_path=True, layer=69, datatype=20))  # met2
sky130_fd_io__pwrdet_lsh.add(gdstk.FlexPath([(5.2,2.225),(5.2,2.865)], 0.26, ends="flush", simple_path=True, layer=69, datatype=20))  # met2
sky130_fd_io__pwrdet_lsh.add(gdstk.FlexPath([(14.25,3.905),(14.89,3.905)], 0.26, ends="flush", simple_path=True, layer=69, datatype=20))  # met2
sky130_fd_io__pwrdet_lsh.add(gdstk.FlexPath([(12.58,3.905),(13.22,3.905)], 0.26, ends="flush", simple_path=True, layer=69, datatype=20))  # met2
sky130_fd_io__pwrdet_lsh.add(gdstk.FlexPath([(15.29,2.995),(15.29,3.635)], 0.26, ends="flush", simple_path=True, layer=69, datatype=20))  # met2
sky130_fd_io__pwrdet_lsh.add(gdstk.FlexPath([(11.255,3.115),(11.895,3.115)], 0.26, ends="flush", simple_path=True, layer=69, datatype=20))  # met2
sky130_fd_io__pwrdet_lsh.add(gdstk.FlexPath([(6.25,3.505),(8.02,3.505)], 0.26, ends="flush", simple_path=True, layer=69, datatype=20))  # met2
sky130_fd_io__pwrdet_lsh.add(gdstk.FlexPath([(2.72,3.495),(3.36,3.495)], 0.26, ends="flush", simple_path=True, layer=69, datatype=20))  # met2
sky130_fd_io__pwrdet_lsh.add(gdstk.FlexPath([(13.39,3.505),(14.03,3.505)], 0.26, ends="flush", simple_path=True, layer=69, datatype=20))  # met2
sky130_fd_io__pwrdet_lsh.add(gdstk.FlexPath([(10.42,3.905),(11.06,3.905)], 0.26, ends="flush", simple_path=True, layer=69, datatype=20))  # met2
sky130_fd_io__pwrdet_lsh.add(gdstk.Reference(dfl1_cdns_52468879185881, (10.48,3.445)))
sky130_fd_io__pwrdet_lsh.add(gdstk.Reference(dfl1_cdns_52468879185881, (13.72,3.445)))
sky130_fd_io__pwrdet_lsh.add(gdstk.Reference(nfet_cdns_52468879185783, (15.43,2.865)))
sky130_fd_io__pwrdet_lsh.add(gdstk.Reference(nfet_cdns_52468879185871, (11.865,0.865)))
sky130_fd_io__pwrdet_lsh.add(gdstk.Reference(nfet_cdns_52468879185871, (15.155,0.865)))
sky130_fd_io__pwrdet_lsh.add(gdstk.Reference(nfet_cdns_52468879185871, (15.935,0.865)))
sky130_fd_io__pwrdet_lsh.add(gdstk.Reference(nfet_cdns_52468879185871, (11.085,0.865)))
sky130_fd_io__pwrdet_lsh.add(gdstk.Reference(nfet_cdns_52468879185882, (5.725,0.865)))
sky130_fd_io__pwrdet_lsh.add(gdstk.Reference(nfet_cdns_52468879185883, (5.445,0.865), rotation=pi, x_reflection=True))
sky130_fd_io__pwrdet_lsh.add(gdstk.Reference(nfet_cdns_52468879185883, (4.665,0.865), rotation=pi, x_reflection=True))
sky130_fd_io__pwrdet_lsh.add(gdstk.Reference(nfet_cdns_52468879185884, (1.825,0.865)))
sky130_fd_io__pwrdet_lsh.add(gdstk.Reference(nfet_cdns_52468879185885, (12.365,3.445)))
sky130_fd_io__pwrdet_lsh.add(gdstk.Reference(nfet_cdns_52468879185885, (11.085,3.445)))

lib.write_gds('sky130_fd_io__pwrdet_lshv2hv_0_nmos.gds')
